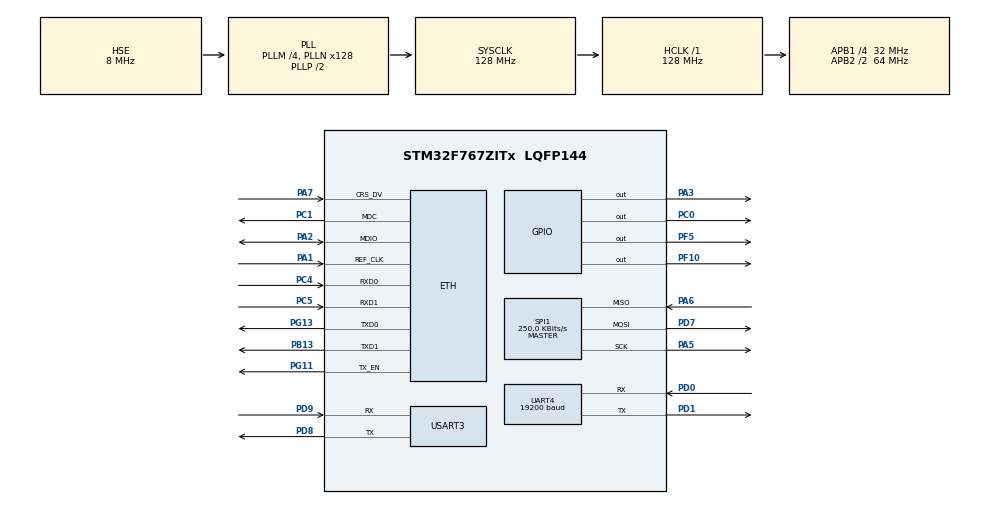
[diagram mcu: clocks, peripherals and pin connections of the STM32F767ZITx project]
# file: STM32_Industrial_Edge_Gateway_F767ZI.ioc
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CORTEX_M7.default_mode_Activation=1
ETH.MediaInterface=HAL_ETH_RMII_MODE
LWIP.BSP.number=1
LWIP.GATEWAY_ADDRESS=192.168.001.001
LWIP.IP_ADDRESS=192.168.001.105
LWIP.LWIP_DHCP=0
LWIP.LWIP_HTTPD=1
LWIP.LWIP_HTTPD_CUSTOM_FILES=0
LWIP.LWIP_HTTPD_SSI=1
LWIP.NETMASK_ADDRESS=255.255.255.000
LWIP.Version=v2.1.2_Cube
LWIP0.BSP.STBoard=false
LWIP0.BSP.api=BSP_COMPONENT_DRIVER
LWIP0.BSP.component=LAN8742
LWIP0.BSP.instance=LAN8742
LWIP0.BSP.name=Driver_PHY
LWIP0.BSP.semaphore=S_LAN8742
LWIP0.BSP.solution=LAN8742
Mcu.Family=STM32F7
Mcu.Name=STM32F767ZITx
Mcu.Package=LQFP144
NVIC.PriorityGroup=NVIC_PRIORITYGROUP_4
PA1.Mode=RMII
PA1.Signal=ETH_REF_CLK
PA13.Mode=Serial_Wire
PA13.Signal=SYS_JTMS-SWDIO
PA14.Mode=Serial_Wire
PA14.Signal=SYS_JTCK-SWCLK
PA2.Mode=RMII
PA2.Signal=ETH_MDIO
PA3.Signal=GPIO_Output
PA5.Mode=Full_Duplex_Master
PA5.Signal=SPI1_SCK
PA6.Mode=Full_Duplex_Master
PA6.Signal=SPI1_MISO
PA7.Mode=RMII
PA7.Signal=ETH_CRS_DV
PB13.Mode=RMII
PB13.Signal=ETH_TXD1
PC0.Signal=GPIO_Output
PC1.Mode=RMII
PC1.Signal=ETH_MDC
PC4.Mode=RMII
PC4.Signal=ETH_RXD0
PC5.Mode=RMII
PC5.Signal=ETH_RXD1
PD0.Mode=Asynchronous
PD0.Signal=UART4_RX
PD1.Mode=Asynchronous
PD1.Signal=UART4_TX
PD7.Mode=Full_Duplex_Master
PD7.Signal=SPI1_MOSI
PD8.Mode=Asynchronous
PD8.Signal=USART3_TX
PD9.Mode=Asynchronous
PD9.Signal=USART3_RX
PF10.GPIO_Speed=GPIO_SPEED_FREQ_HIGH
PF10.PinState=GPIO_PIN_SET
PF10.Signal=GPIO_Output
PF5.Signal=GPIO_Output
PG11.Mode=RMII
PG11.Signal=ETH_TX_EN
PG13.Mode=RMII
PG13.Signal=ETH_TXD0
PH0/OSC_IN.Mode=HSE-External-Oscillator
PH0/OSC_IN.Signal=RCC_OSC_IN
PH1/OSC_OUT.Mode=HSE-External-Oscillator
PH1/OSC_OUT.Signal=RCC_OSC_OUT
ProjectManager.HeapSize=0x200
ProjectManager.StackSize=0x400
ProjectManager.TargetToolchain=CMake
RCC.48MHZClocksFreq_Value=24000000
RCC.AHBFreq_Value=128000000
RCC.APB1CLKDivider=RCC_HCLK_DIV4
RCC.APB1Freq_Value=32000000
RCC.APB1TimFreq_Value=64000000
RCC.APB2CLKDivider=RCC_HCLK_DIV2
RCC.APB2Freq_Value=64000000
RCC.APB2TimFreq_Value=128000000
RCC.CortexFreq_Value=128000000
RCC.HCLKFreq_Value=128000000
RCC.HSE_VALUE=8000000
RCC.HSI_VALUE=16000000
RCC.LSE_VALUE=32768
RCC.PLLM=4
RCC.PLLMUL=RCC_PLL_MUL9
RCC.PLLN=128
RCC.PLLQ=4
RCC.PLLSourceVirtual=RCC_PLLSOURCE_HSE
RCC.PRESCALERUSB=RCC_USBCLKSOURCE_PLL_DIV1_5
RCC.SYSCLKFreq_VALUE=128000000
RCC.SYSCLKSource=RCC_SYSCLKSOURCE_PLLCLK
RCC.SYSCLKSourceVirtual=RCC_SYSCLKSOURCE_PLLCLK
RCC.USBFreq_Value=64000000
RCC.VCOOutputFreq_Value=256000000
SPI1.BaudRatePrescaler=SPI_BAUDRATEPRESCALER_256
SPI1.CalculateBaudRate=250.0 KBits/s
SPI1.DataSize=SPI_DATASIZE_8BIT
SPI1.Direction=SPI_DIRECTION_2LINES
SPI1.Mode=SPI_MODE_MASTER
SPI1.VirtualType=VM_MASTER
UART4.BaudRate=19200
UART4.Parity=PARITY_NONE
USART3.VirtualMode-Asynchronous=VM_ASYNC
VP_FATFS_VS_Generic.Mode=User_defined
VP_LWIP_VS_Enabled.Mode=Enabled
board=NUCLEO-F767ZI

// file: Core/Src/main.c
/* USER CODE BEGIN Header */
/**
 ******************************************************************************
 * @file           : main.c
 * @brief          : Main program body
 ******************************************************************************
 * @attention
 *
 * Copyright (c) 2026 STMicroelectronics.
 * All rights reserved.
 *
 * This software is licensed under terms that can be found in the LICENSE file
 * in the root directory of this software component.
 * If no LICENSE file comes with this software, it is provided AS-IS.
 *
 ******************************************************************************
 */
/* USER CODE END Header */
#include "main.h"
#include "fatfs.h"
#include "lwip.h"

/* USER CODE BEGIN Includes */
#include "stm32f7xx_hal_def.h"
#include "stm32f7xx_hal_spi.h"
#include "string.h"
#include "stdio.h"
#include "time.h"
#include "lwip/apps/httpd.h"
/* USER CODE END Includes */

/* USER CODE BEGIN PTD */
typedef struct
{
  float temperature;
  float humidity;
  float pressure;
  float pm1;
  float pm25;
  float pm10;
  uint16_t aqi;

  uint32_t timestamp;
} AirData_t;

typedef struct
{
  float Clow;
  float Chigh;
  uint16_t Ilow;
  uint16_t Ihigh;
} AQITable;

typedef enum
{
  MODBUS_IDLE, // LED OFF
  MODBUS_BUSY, // Slow blink
  MODBUS_OK,   // Short flash
  MODBUS_ERROR // Solid ON
} ModbusStatus_t;

typedef enum
{
  SD_IDLE, // LED OFF
  SD_BUSY, // Slow blink
  SD_OK,   // Short flash
  SD_ERROR // Solid ON
} SDStatus_t;

typedef struct
{
  uint8_t rx[32];
  HAL_StatusTypeDef status;
} Modbus;
/* USER CODE END PTD */

/* USER CODE BEGIN PD */
#define SLAVE_ID 0x01
#define MODBUS_REQ_SIZE 8
#define FUN04_RESPONSE_SIZE 19
#define FUN03_RESPONSE_SIZE 9
#define PERIOD_MS 10000
/* USER CODE END PD */

SPI_HandleTypeDef hspi1;

UART_HandleTypeDef huart4;
UART_HandleTypeDef huart3;

/* USER CODE BEGIN PV */
AirData_t data = {0};
uint32_t lastSampleTick = 0;

uint8_t frameFun04[MODBUS_REQ_SIZE] = {
    SLAVE_ID,
    0x04,       // Function Code (3xxxx)
    0x00, 0x07, // Starting Address (30008)
    0x00, 0x07  // Number of Registers (30014)
};

uint8_t frameFun03[MODBUS_REQ_SIZE] = {
    SLAVE_ID,
    0x03,       // Function Code (4xxxx)
    0x00, 0x04, // Starting Address (40005)
    0x00, 0x02  // Number of Registers (40006)
};

static const AQITable PM25Table[] =
    {{0.0f, 9.0f, 0, 50},
     {9.1f, 35.4f, 51, 100},
     {35.5f, 55.4f, 101, 150},
     {55.5f, 125.4f, 151, 200},
     {125.5f, 225.4f, 201, 300},
     {225.5f, 325.4f, 301, 400},
     {325.5f, 500.4f, 401, 500}};

static const AQITable PM10Table[] =
    {{0, 54, 0, 50},
     {55, 154, 51, 100},
     {155, 254, 101, 150},
     {255, 354, 151, 200},
     {355, 424, 201, 300},
     {425, 504, 301, 400},
     {505, 604, 401, 500}};

FATFS fs;
FIL file;
FRESULT fr;
UINT bytesWritten;
UINT bytesRead;
/* USER CODE END PV */

void SystemClock_Config(void);
static void MPU_Config(void);
static void MX_GPIO_Init(void);
static void MX_UART4_Init(void);
static void MX_USART3_UART_Init(void);
static void MX_SPI1_Init(void);

/* USER CODE BEGIN 0 */
uint16_t Modbus_CRC16(uint8_t *buf, uint16_t len)
{
  uint16_t crc = 0xFFFF;

  for (uint16_t i = 0; i < len; i++)
  {
    crc ^= buf[i];

    for (uint8_t j = 0; j < 8; j++)
    {
      if (crc & 1)
        crc = (crc >> 1) ^ 0xA001;
      else
        crc >>= 1;
    }
  }

  return crc;
}

Modbus Modbus_TransmitReceive(UART_HandleTypeDef *huart, uint8_t *frame, uint8_t rxLength)
{
  Modbus result = {0};

  uint16_t crc = Modbus_CRC16(frame, MODBUS_REQ_SIZE - 2);

  uint8_t tx[8];
  memcpy(tx, frame, MODBUS_REQ_SIZE);

  tx[6] = crc & 0xFF;
  tx[7] = (crc >> 8) & 0xFF;

  result.status = HAL_UART_Transmit(huart, tx, MODBUS_REQ_SIZE, 1000);

  if (result.status != HAL_OK)
    return result;

  result.status = HAL_UART_Receive(huart, result.rx, rxLength, 1000);

  if (result.status != HAL_OK)
    return result;

  uint16_t rxCRC = result.rx[rxLength - 2] | (result.rx[rxLength - 1] << 8);
  uint16_t calcCRC = Modbus_CRC16(result.rx, rxLength - 2);

  if (rxCRC != calcCRC)
    result.status = HAL_ERROR;

  return result;
}

uint16_t AQIFromTable(float concentration,
                      const AQITable *table,
                      uint8_t size)
{
  if (concentration < 0)
    return 0;

  for (int i = 0; i < size; i++)
  {
    if (concentration >= table[i].Clow &&
        concentration <= table[i].Chigh)
    {
      float aqi =
          ((table[i].Ihigh - table[i].Ilow) /
           (table[i].Chigh - table[i].Clow)) *
              (concentration - table[i].Clow) +
          table[i].Ilow;

      return (uint16_t)(aqi + 0.5f);
    }
  }

  return 500;
}

uint16_t CalculateAQI(float pm25, float pm10)
{
  uint16_t aqi25 =
      AQIFromTable(pm25,
                   PM25Table,
                   sizeof(PM25Table) / sizeof(AQITable));

  uint16_t aqi10 =
      AQIFromTable(pm10,
                   PM10Table,
                   sizeof(PM10Table) / sizeof(AQITable));

  return (aqi25 > aqi10) ? aqi25 : aqi10;
}

void ModbusStatusLED(ModbusStatus_t modbusStatus)
{
  static uint32_t lastToggle = 0;

  switch (modbusStatus)
  {
  case MODBUS_IDLE:
    HAL_GPIO_WritePin(GPIOA, GPIO_PIN_3, GPIO_PIN_RESET);
    break;

  case MODBUS_BUSY:
    if (HAL_GetTick() - lastToggle >= 500)
    {
      lastToggle = HAL_GetTick();
      HAL_GPIO_TogglePin(GPIOA, GPIO_PIN_3);
    }
    break;

  case MODBUS_OK:
    HAL_GPIO_WritePin(GPIOA, GPIO_PIN_3, GPIO_PIN_SET);
    HAL_Delay(100);
    HAL_GPIO_WritePin(GPIOA, GPIO_PIN_3, GPIO_PIN_RESET);
    break;

  case MODBUS_ERROR:
    HAL_GPIO_WritePin(GPIOA, GPIO_PIN_3, GPIO_PIN_SET);
    break;
  }
}

void SDStatusLED(SDStatus_t sdStatus)
{
  static uint32_t lastToggle = 0;

  switch (sdStatus)
  {
  case SD_IDLE:
    HAL_GPIO_WritePin(GPIOC, GPIO_PIN_0, GPIO_PIN_RESET);
    break;

  case SD_BUSY:
    if (HAL_GetTick() - lastToggle >= 500)
    {
      lastToggle = HAL_GetTick();
      HAL_GPIO_TogglePin(GPIOC, GPIO_PIN_0);
    }
    break;

  case SD_OK:
    HAL_GPIO_WritePin(GPIOC, GPIO_PIN_0, GPIO_PIN_SET);
    HAL_Delay(100);
    HAL_GPIO_WritePin(GPIOC, GPIO_PIN_0, GPIO_PIN_RESET);
    break;

  case SD_ERROR:
    HAL_GPIO_WritePin(GPIOC, GPIO_PIN_0, GPIO_PIN_SET);
    break;
  }
}

u16_t SSI_Handler(int iIndex, char *pcInsert, int iInsertLen)
{
  extern uint32_t lastSampleTick;

  switch (iIndex)
  {
  case 0:
    return snprintf(pcInsert, iInsertLen, "%.1f", data.pm25);

  case 1:
    return snprintf(pcInsert, iInsertLen, "%.1f", data.pm10);

  case 2:
    return snprintf(pcInsert, iInsertLen, "%.1f", data.pm1);

  case 3:
    return snprintf(pcInsert, iInsertLen, "%.2f", data.temperature);

  case 4:
    return snprintf(pcInsert, iInsertLen, "%.2f", data.humidity);

  case 5:
    return snprintf(pcInsert, iInsertLen, "%.1f", data.pressure);

  case 6:
    return snprintf(pcInsert, iInsertLen, "%u", data.aqi);

  case 7:
    return snprintf(pcInsert, iInsertLen, "%lu", (HAL_GetTick() - lastSampleTick) / 1000);

  default:
    pcInsert[0] = '\0';
    return 0;
  }
}
/* USER CODE END 0 */

int main(void)
{

  /* USER CODE BEGIN 1 */
  ModbusStatus_t modbusStatus = MODBUS_IDLE;

  SDStatus_t sdStatus = SD_IDLE;
  /* USER CODE END 1 */

  /* MPU Configuration--------------------------------------------------------*/
  MPU_Config();

  /* MCU Configuration--------------------------------------------------------*/

  /* Reset of all peripherals, Initializes the Flash interface and the Systick. */
  HAL_Init();

  /* Configure the system clock */
  SystemClock_Config();

  /* Initialize all configured peripherals */
  MX_GPIO_Init();
  MX_UART4_Init();
  MX_USART3_UART_Init();
  MX_SPI1_Init();
  MX_FATFS_Init();
  MX_LWIP_Init();
  /* USER CODE BEGIN 2 */
  fr = f_mount(&fs, "", 1);
  if (fr != FR_OK)
  {
    sdStatus = SD_ERROR;
    SDStatusLED(sdStatus);
  }

  httpd_init();

  const char *tags[] = {
      "pm25", "pm10", "pm1",
      "temp", "hum", "press",
      "aqi", "updated"};

  http_set_ssi_handler(SSI_Handler, tags, LWIP_ARRAYSIZE(tags));
  /* USER CODE END 2 */

  /* Infinite loop */
  /* USER CODE BEGIN WHILE */
  uint32_t lastSample = 0;

  while (1)
  {
    MX_LWIP_Process();

    if (HAL_GetTick() - lastSample >= PERIOD_MS)
    {
      lastSample = HAL_GetTick();
      modbusStatus = MODBUS_BUSY;
      ModbusStatusLED(modbusStatus);
      Modbus modbusFun04 = Modbus_TransmitReceive(&huart4, frameFun04, FUN04_RESPONSE_SIZE);
      Modbus modbusFun03 = Modbus_TransmitReceive(&huart4, frameFun03, FUN03_RESPONSE_SIZE);

      if (modbusFun04.status != HAL_OK || modbusFun03.status != HAL_OK)
      {
        modbusStatus = MODBUS_ERROR;
        ModbusStatusLED(modbusStatus);
        continue;
      }

      uint8_t *rxFun04 = modbusFun04.rx;
      uint8_t *rxFun03 = modbusFun03.rx;

      if ((rxFun04[0] != SLAVE_ID || rxFun04[1] != 0x04 || rxFun04[2] != 14) ||
          (rxFun03[0] != SLAVE_ID || rxFun03[1] != 0x03 || rxFun03[2] != 4))
      {
        modbusStatus = MODBUS_ERROR;
        ModbusStatusLED(modbusStatus);
        HAL_Delay(PERIOD_MS);
        continue;
      }

      data.temperature = (((uint16_t)rxFun04[3] << 8) | rxFun04[4]) * 0.01f;
      data.humidity = (((uint16_t)rxFun04[5] << 8) | rxFun04[6]) * 0.01f;
      data.pressure = (((uint16_t)rxFun04[9] << 8) | rxFun04[10]) * 0.1f;
      data.pm1 = (((uint16_t)rxFun04[11] << 8) | rxFun04[12]) * 0.1f;
      data.pm25 = (((uint16_t)rxFun04[13] << 8) | rxFun04[14]) * 0.1f;
      data.pm10 = (((uint16_t)rxFun04[15] << 8) | rxFun04[16]) * 0.1f;
      data.aqi = CalculateAQI(data.pm25, data.pm10);

      data.timestamp =
          ((uint32_t)(((uint16_t)rxFun03[3] << 8) | rxFun03[4]) << 16) |
          (((uint16_t)rxFun03[5] << 8) | rxFun03[6]);

      lastSampleTick = HAL_GetTick();

      time_t t = (time_t)(data.timestamp + 3 * 3600); // UTC+3
      struct tm *tm_info = gmtime(&t);

      char timeStr[32];

      strftime(timeStr, sizeof(timeStr), "%Y-%m-%d %H:%M:%S", tm_info);

      modbusStatus = MODBUS_OK;
      ModbusStatusLED(modbusStatus);

      sdStatus = SD_BUSY;
      SDStatusLED(sdStatus);

      FILINFO fno;
      fr = f_stat("data.csv", &fno);

      if (fr == FR_NO_FILE)
      {
        fr = f_open(&file, "data.csv", FA_CREATE_NEW | FA_WRITE);

        if (fr == FR_OK)
        {
          char header[] = "Timestamp,Temperature,Humidity,Pressure,PM1,PM2.5,PM10,AQI\r\n";

          f_write(&file, header, strlen(header), &bytesWritten);
          f_close(&file);
        }
      }

      fr = f_open(&file, "data.csv", FA_OPEN_EXISTING | FA_WRITE);

      if (fr != FR_OK)
      {
        sdStatus = SD_ERROR;
        SDStatusLED(sdStatus);
        continue;
      }

      char fdata[128];
      sprintf(fdata,
              "%s,%.2f,%.2f,%.1f,%.1f,%.1f,%.1f,%u\r\n",
              timeStr,
              data.temperature,
              data.humidity,
              data.pressure,
              data.pm1,
              data.pm25,
              data.pm10,
              data.aqi);

      fr = f_write(&file, fdata, strlen(fdata), &bytesWritten);

      if (fr != FR_OK || bytesWritten != strlen(fdata))
      {
        sdStatus = SD_ERROR;
        SDStatusLED(sdStatus);
        continue;
      }

      f_sync(&file);
      f_close(&file);
      sdStatus = SD_OK;
      SDStatusLED(sdStatus);
    }
    /* USER CODE END WHILE */

  }
}

void SystemClock_Config(void)
{
  RCC_OscInitTypeDef RCC_OscInitStruct = {0};
  RCC_ClkInitTypeDef RCC_ClkInitStruct = {0};

  /** Configure the main internal regulator output voltage
   */
  __HAL_RCC_PWR_CLK_ENABLE();
  __HAL_PWR_VOLTAGESCALING_CONFIG(PWR_REGULATOR_VOLTAGE_SCALE3);

  /** Initializes the RCC Oscillators according to the specified parameters
   * in the RCC_OscInitTypeDef structure.
   */
  RCC_OscInitStruct.OscillatorType = RCC_OSCILLATORTYPE_HSE;
  RCC_OscInitStruct.HSEState = RCC_HSE_ON;
  RCC_OscInitStruct.PLL.PLLState = RCC_PLL_ON;
  RCC_OscInitStruct.PLL.PLLSource = RCC_PLLSOURCE_HSE;
  RCC_OscInitStruct.PLL.PLLM = 4;
  RCC_OscInitStruct.PLL.PLLN = 128;
  RCC_OscInitStruct.PLL.PLLP = RCC_PLLP_DIV2;
  RCC_OscInitStruct.PLL.PLLQ = 4;
  RCC_OscInitStruct.PLL.PLLR = 2;
  if (HAL_RCC_OscConfig(&RCC_OscInitStruct) != HAL_OK)
  {
    Error_Handler();
  }

  /** Initializes the CPU, AHB and APB buses clocks
   */
  RCC_ClkInitStruct.ClockType = RCC_CLOCKTYPE_HCLK | RCC_CLOCKTYPE_SYSCLK | RCC_CLOCKTYPE_PCLK1 | RCC_CLOCKTYPE_PCLK2;
  RCC_ClkInitStruct.SYSCLKSource = RCC_SYSCLKSOURCE_PLLCLK;
  RCC_ClkInitStruct.AHBCLKDivider = RCC_SYSCLK_DIV1;
  RCC_ClkInitStruct.APB1CLKDivider = RCC_HCLK_DIV4;
  RCC_ClkInitStruct.APB2CLKDivider = RCC_HCLK_DIV2;

  if (HAL_RCC_ClockConfig(&RCC_ClkInitStruct, FLASH_LATENCY_4) != HAL_OK)
  {
    Error_Handler();
  }
}

static void MX_SPI1_Init(void)
{

  /* SPI1 parameter configuration*/
  hspi1.Instance = SPI1;
  hspi1.Init.Mode = SPI_MODE_MASTER;
  hspi1.Init.Direction = SPI_DIRECTION_2LINES;
  hspi1.Init.DataSize = SPI_DATASIZE_8BIT;
  hspi1.Init.CLKPolarity = SPI_POLARITY_LOW;
  hspi1.Init.CLKPhase = SPI_PHASE_1EDGE;
  hspi1.Init.NSS = SPI_NSS_SOFT;
  hspi1.Init.BaudRatePrescaler = SPI_BAUDRATEPRESCALER_256;
  hspi1.Init.FirstBit = SPI_FIRSTBIT_MSB;
  hspi1.Init.TIMode = SPI_TIMODE_DISABLE;
  hspi1.Init.CRCCalculation = SPI_CRCCALCULATION_DISABLE;
  hspi1.Init.CRCPolynomial = 7;
  hspi1.Init.CRCLength = SPI_CRC_LENGTH_DATASIZE;
  hspi1.Init.NSSPMode = SPI_NSS_PULSE_ENABLE;
  if (HAL_SPI_Init(&hspi1) != HAL_OK)
  {
    Error_Handler();
  }
}

static void MX_UART4_Init(void)
{

  huart4.Instance = UART4;
  huart4.Init.BaudRate = 19200;
  huart4.Init.WordLength = UART_WORDLENGTH_8B;
  huart4.Init.StopBits = UART_STOPBITS_1;
  huart4.Init.Parity = UART_PARITY_NONE;
  huart4.Init.Mode = UART_MODE_TX_RX;
  huart4.Init.HwFlowCtl = UART_HWCONTROL_NONE;
  huart4.Init.OverSampling = UART_OVERSAMPLING_16;
  huart4.Init.OneBitSampling = UART_ONE_BIT_SAMPLE_DISABLE;
  huart4.AdvancedInit.AdvFeatureInit = UART_ADVFEATURE_NO_INIT;
  if (HAL_UART_Init(&huart4) != HAL_OK)
  {
    Error_Handler();
  }
}

static void MX_USART3_UART_Init(void)
{

  huart3.Instance = USART3;
  huart3.Init.BaudRate = 115200;
  huart3.Init.WordLength = UART_WORDLENGTH_8B;
  huart3.Init.StopBits = UART_STOPBITS_1;
  huart3.Init.Parity = UART_PARITY_NONE;
  huart3.Init.Mode = UART_MODE_TX_RX;
  huart3.Init.HwFlowCtl = UART_HWCONTROL_NONE;
  huart3.Init.OverSampling = UART_OVERSAMPLING_16;
  huart3.Init.OneBitSampling = UART_ONE_BIT_SAMPLE_DISABLE;
  huart3.AdvancedInit.AdvFeatureInit = UART_ADVFEATURE_NO_INIT;
  if (HAL_UART_Init(&huart3) != HAL_OK)
  {
    Error_Handler();
  }
}

static void MX_GPIO_Init(void)
{
  GPIO_InitTypeDef GPIO_InitStruct = {0};

  /* GPIO Ports Clock Enable */
  __HAL_RCC_GPIOF_CLK_ENABLE();
  __HAL_RCC_GPIOH_CLK_ENABLE();
  __HAL_RCC_GPIOC_CLK_ENABLE();
  __HAL_RCC_GPIOA_CLK_ENABLE();
  __HAL_RCC_GPIOB_CLK_ENABLE();
  __HAL_RCC_GPIOD_CLK_ENABLE();
  __HAL_RCC_GPIOG_CLK_ENABLE();

  /*Configure GPIO pin Output Level */
  HAL_GPIO_WritePin(GPIOF, GPIO_PIN_5, GPIO_PIN_RESET);

  /*Configure GPIO pin Output Level */
  HAL_GPIO_WritePin(GPIOF, GPIO_PIN_10, GPIO_PIN_SET);

  /*Configure GPIO pin Output Level */
  HAL_GPIO_WritePin(GPIOC, GPIO_PIN_0, GPIO_PIN_RESET);

  /*Configure GPIO pin Output Level */
  HAL_GPIO_WritePin(GPIOA, GPIO_PIN_3, GPIO_PIN_RESET);

  /*Configure GPIO pin : PF5 */
  GPIO_InitStruct.Pin = GPIO_PIN_5;
  GPIO_InitStruct.Mode = GPIO_MODE_OUTPUT_PP;
  GPIO_InitStruct.Pull = GPIO_NOPULL;
  GPIO_InitStruct.Speed = GPIO_SPEED_FREQ_LOW;
  HAL_GPIO_Init(GPIOF, &GPIO_InitStruct);

  /*Configure GPIO pin : PF10 */
  GPIO_InitStruct.Pin = GPIO_PIN_10;
  GPIO_InitStruct.Mode = GPIO_MODE_OUTPUT_PP;
  GPIO_InitStruct.Pull = GPIO_NOPULL;
  GPIO_InitStruct.Speed = GPIO_SPEED_FREQ_HIGH;
  HAL_GPIO_Init(GPIOF, &GPIO_InitStruct);

  /*Configure GPIO pin : PC0 */
  GPIO_InitStruct.Pin = GPIO_PIN_0;
  GPIO_InitStruct.Mode = GPIO_MODE_OUTPUT_PP;
  GPIO_InitStruct.Pull = GPIO_NOPULL;
  GPIO_InitStruct.Speed = GPIO_SPEED_FREQ_LOW;
  HAL_GPIO_Init(GPIOC, &GPIO_InitStruct);

  /*Configure GPIO pin : PA3 */
  GPIO_InitStruct.Pin = GPIO_PIN_3;
  GPIO_InitStruct.Mode = GPIO_MODE_OUTPUT_PP;
  GPIO_InitStruct.Pull = GPIO_NOPULL;
  GPIO_InitStruct.Speed = GPIO_SPEED_FREQ_LOW;
  HAL_GPIO_Init(GPIOA, &GPIO_InitStruct);

}

/* MPU Configuration */

void MPU_Config(void)
{
  MPU_Region_InitTypeDef MPU_InitStruct = {0};

  /* Disables the MPU */
  HAL_MPU_Disable();

  /** Initializes and configures the Region and the memory to be protected
   */
  MPU_InitStruct.Enable = MPU_REGION_ENABLE;
  MPU_InitStruct.Number = MPU_REGION_NUMBER0;
  MPU_InitStruct.BaseAddress = 0x0;
  MPU_InitStruct.Size = MPU_REGION_SIZE_4GB;
  MPU_InitStruct.SubRegionDisable = 0x87;
  MPU_InitStruct.TypeExtField = MPU_TEX_LEVEL0;
  MPU_InitStruct.AccessPermission = MPU_REGION_NO_ACCESS;
  MPU_InitStruct.DisableExec = MPU_INSTRUCTION_ACCESS_DISABLE;
  MPU_InitStruct.IsShareable = MPU_ACCESS_SHAREABLE;
  MPU_InitStruct.IsCacheable = MPU_ACCESS_NOT_CACHEABLE;
  MPU_InitStruct.IsBufferable = MPU_ACCESS_NOT_BUFFERABLE;

  HAL_MPU_ConfigRegion(&MPU_InitStruct);
  /* Enables the MPU */
  HAL_MPU_Enable(MPU_PRIVILEGED_DEFAULT);
}

void Error_Handler(void)
{
  __disable_irq();
  while (1)
  {
  }
}
